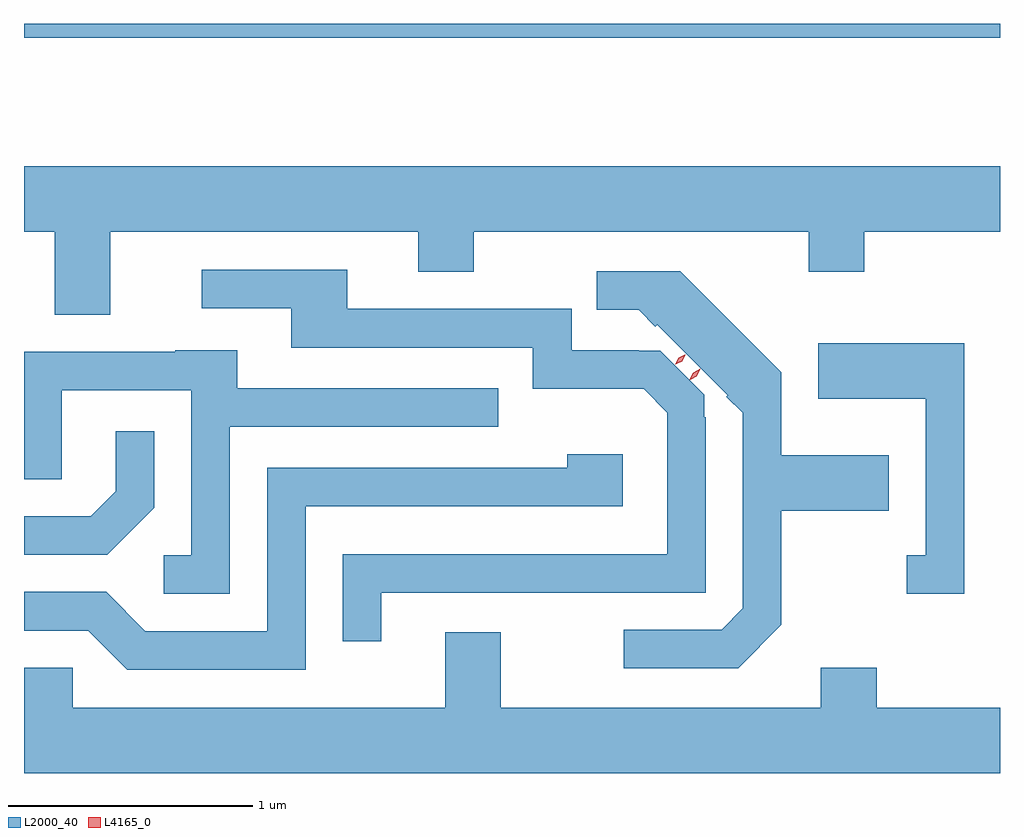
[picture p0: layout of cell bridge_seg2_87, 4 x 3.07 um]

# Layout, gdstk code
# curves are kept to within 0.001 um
import gdstk
lib = gdstk.Library(unit=1e-6, precision=1e-09)
def R(c, l, rs):  # rectangles x0, y0, x1, y1
    for r in rs: c.add(gdstk.rectangle(r[:2], r[2:], *l))
def P(c, l, *ps):  # polygons
    for p in ps: c.add(gdstk.Polygon(p, *l))
L2000_40 = (2000, 40)
L4165_0 = (4165, 0)

bridge_seg2_87 = lib.new_cell('bridge_seg2_87')
R(bridge_seg2_87, L2000_40, [(1221.535,1029.131,1225.535,1029.188)])
P(bridge_seg2_87, L2000_40, [(1221.889,1028.336),(1223.151,1028.336),(1223.151,1028.171),(1223.379,1028.171),(1223.379,1028.336),(1224.751,1028.336),(1224.751,1028.171),(1224.979,1028.171),(1224.979,1028.336),(1225.535,1028.336),(1225.535,1028.604),(1221.535,1028.604),(1221.535,1028.336),(1221.661,1028.336),(1221.661,1027.996),(1221.889,1027.996)],
  [(1222.999,1026.856),(1224.329,1026.856),(1224.329,1027.575),(1224.322,1027.575),(1224.322,1027.668),(1224.142,1027.848),(1223.779,1027.849),(1223.779,1028.019),(1222.859,1028.019),(1222.859,1028.179),(1222.263,1028.179),(1222.263,1028.021),(1222.631,1028.021),(1222.631,1027.861),(1223.621,1027.861),(1223.621,1027.691),(1224.074,1027.691),(1224.171,1027.594),(1224.171,1027.014),(1222.841,1027.014),(1222.841,1026.658),(1222.999,1026.658)],
  [(1224.639,1026.724),(1224.639,1027.191),(1225.079,1027.191),(1225.079,1027.419),(1224.639,1027.419),(1224.639,1027.76),(1224.225,1028.174),(1223.882,1028.174),(1223.882,1028.016),(1224.054,1028.016),(1224.123,1027.947),(1224.13,1027.955),(1224.42,1027.665),(1224.414,1027.66),(1224.481,1027.593),(1224.481,1026.792),(1224.394,1026.704),(1223.993,1026.704),(1223.993,1026.546),(1224.462,1026.546)],
  [(1225.389,1027.879),(1224.791,1027.879),(1224.791,1027.651),(1225.231,1027.651),(1225.231,1027.009),(1225.153,1027.009),(1225.153,1026.851),(1225.389,1026.851)],
  [(1222.379,1027.536),(1223.478,1027.536),(1223.478,1027.694),(1222.409,1027.694),(1222.409,1027.849),(1222.155,1027.849),(1222.155,1027.844),(1221.535,1027.844),(1221.535,1027.321),(1221.689,1027.321),(1221.689,1027.686),(1222.221,1027.686),(1222.221,1027.009),(1222.108,1027.009),(1222.108,1026.851),(1222.379,1026.851)],
  [(1222.069,1027.204),(1222.069,1027.517),(1221.911,1027.517),(1221.911,1027.272),(1221.809,1027.169),(1221.535,1027.169),(1221.535,1027.011),(1221.877,1027.011)],
  [(1222.689,1027.211),(1223.989,1027.211),(1223.989,1027.424),(1223.761,1027.424),(1223.761,1027.369),(1222.531,1027.369),(1222.531,1026.699),(1222.032,1026.699),(1221.872,1026.859),(1221.535,1026.859),(1221.535,1026.701),(1221.799,1026.701),(1221.959,1026.541),(1222.689,1026.541)],
  [(1225.535,1026.384),(1225.029,1026.384),(1225.029,1026.549),(1224.801,1026.549),(1224.801,1026.384),(1223.489,1026.384),(1223.489,1026.694),(1223.261,1026.694),(1223.261,1026.384),(1221.734,1026.384),(1221.734,1026.549),(1221.535,1026.549),(1221.535,1026.116),(1225.535,1026.116)])
P(bridge_seg2_87, L4165_0, [(1224.205,1027.792),(1224.205,1027.793),(1224.218,1027.819),(1224.244,1027.832),(1224.245,1027.832),(1224.245,1027.831),(1224.232,1027.805),(1224.206,1027.792)],
  [(1224.264,1027.729),(1224.264,1027.73),(1224.278,1027.758),(1224.306,1027.773),(1224.307,1027.773),(1224.307,1027.772),(1224.293,1027.744),(1224.265,1027.729)])

lib.write_gds('bridge_seg2_87.gds')
